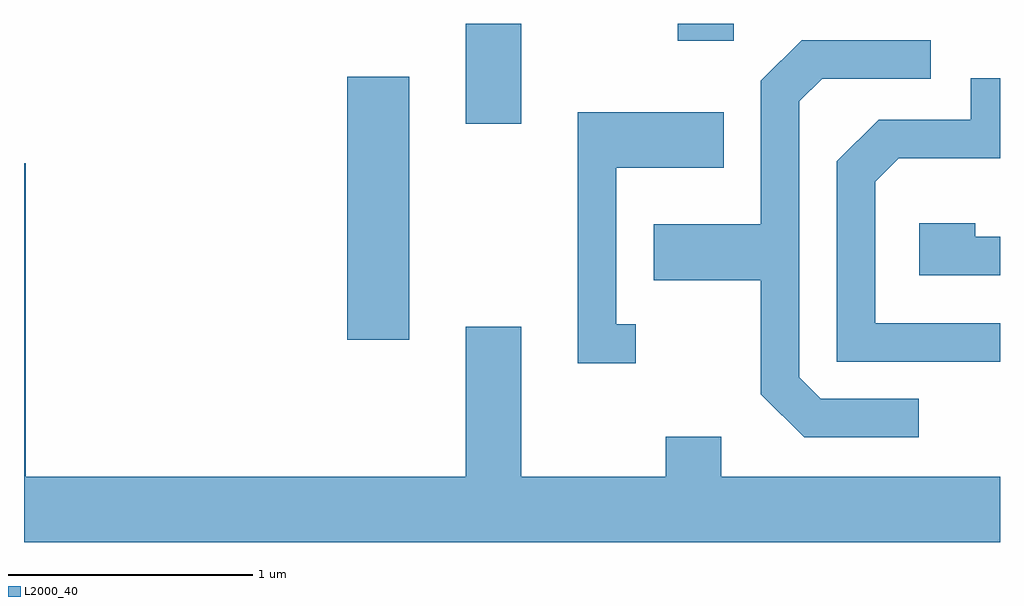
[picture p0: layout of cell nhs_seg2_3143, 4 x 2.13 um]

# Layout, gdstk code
import gdstk
lib = gdstk.Library(unit=1e-6, precision=1e-09)
def R(c, l, rs):  # rectangles x0, y0, x1, y1
    for r in rs: c.add(gdstk.rectangle(r[:2], r[2:], *l))
def P(c, l, *ps):  # polygons
    for p in ps: c.add(gdstk.Polygon(p, *l))
L2000_40 = (2000, 40)

nhs_seg2_3143 = lib.new_cell('nhs_seg2_3143')
R(nhs_seg2_3143, L2000_40, [(278.936,1022.506,279.189,1023.584), (279.421,1023.391,279.649,1023.802), (280.291,1023.731,280.519,1023.802)])
P(nhs_seg2_3143, L2000_40, [(281.278,1022.264),(280.877,1022.264),(280.789,1022.352),(280.789,1023.484),(280.882,1023.576),(281.328,1023.576),(281.328,1023.734),(280.799,1023.734),(280.631,1023.567),(280.631,1022.979),(280.191,1022.979),(280.191,1022.751),(280.631,1022.751),(280.631,1022.284),(280.809,1022.106),(281.278,1022.106)],
  [(281.611,1022.574),(281.099,1022.574),(281.099,1023.154),(281.197,1023.251),(281.611,1023.251),(281.611,1023.579),(281.491,1023.579),(281.491,1023.409),(281.114,1023.409),(280.941,1023.237),(280.941,1022.416),(281.611,1022.416)],
  [(280.118,1022.569),(280.039,1022.569),(280.039,1023.211),(280.479,1023.211),(280.479,1023.439),(279.881,1023.439),(279.881,1022.411),(280.118,1022.411)],
  [(281.611,1021.944),(280.469,1021.944),(280.469,1022.109),(280.241,1022.109),(280.241,1021.944),(279.649,1021.944),(279.649,1022.559),(279.421,1022.559),(279.421,1021.944),(277.619,1021.944),(277.619,1023.229),(277.611,1023.229),(277.611,1021.676),(281.611,1021.676)],
  [(281.611,1022.929),(281.509,1022.929),(281.509,1022.984),(281.281,1022.984),(281.281,1022.771),(281.611,1022.771)])

lib.write_gds('nhs_seg2_3143.gds')
